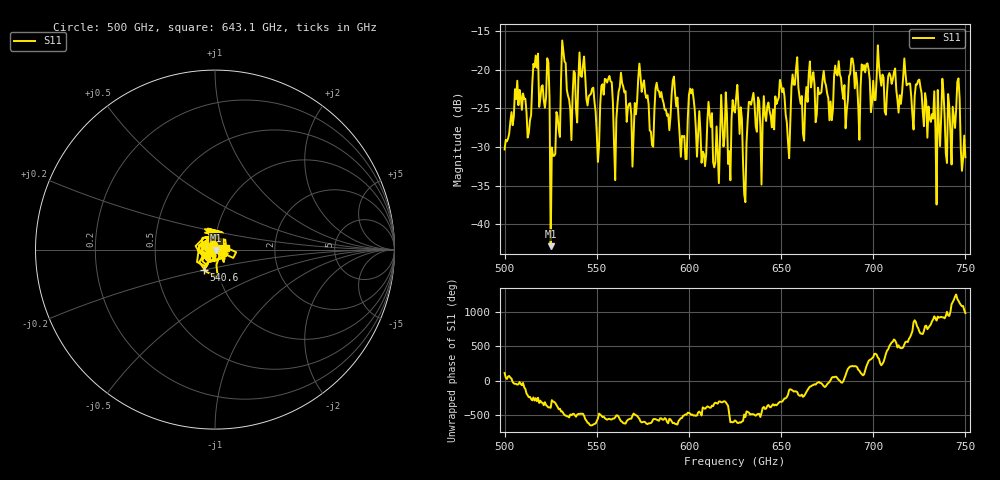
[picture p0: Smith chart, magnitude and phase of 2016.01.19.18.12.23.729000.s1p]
!Created with skrf (http://scikit-rf.org).
# GHz S RI R 50.0
!freq ReS11 ImS11
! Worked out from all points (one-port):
!   401 points, 500 GHz to 750 GHz, reference 50 ohm
!   lowest |S11| = -42.8 dB at 525 GHz (marker M1), VSWR 1.01, Z = 50.6 - j0.366 ohm
!   |S11| at or under -10 dB: start of sweep to end of sweep
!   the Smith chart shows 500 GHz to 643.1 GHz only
!   S11 on the Smith chart (normalised r, x): 500 GHz: 0.97, +0.05; 540.6 GHz: 0.86, -0.20; 643.1 GHz: 1.13, +0.03
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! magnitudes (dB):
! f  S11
! 500 GHz  -30.3
! 506.9 GHz  -21.4
! 513.1 GHz  -28.2
! 516.9 GHz  -18.2
! 523.1 GHz  -18.5
! 525 GHz  -42.8
! 526.2 GHz  -31.1
! 531.2 GHz  -16.2
! 540.6 GHz  -17.8
! 550.6 GHz  -31.9
! 553.8 GHz  -23.2
! 560 GHz  -34.3
! 562.5 GHz  -22.2
! 593.8 GHz  -23.6
! 601.2 GHz  -23.0
! 615 GHz  -27.3
! 625 GHz  -25.5
! 630 GHz  -36.1
! 633.8 GHz  -24.5
! 643.1 GHz  -24.2
! 650.6 GHz  -22.9
! 653.8 GHz  -29.3
! 656.2 GHz  -20.6
! 687.5 GHz  -20.5
! 718.8 GHz  -21.9
! 735 GHz  -22.6
! 745.6 GHz  -21.5
! 750 GHz  -31.3
